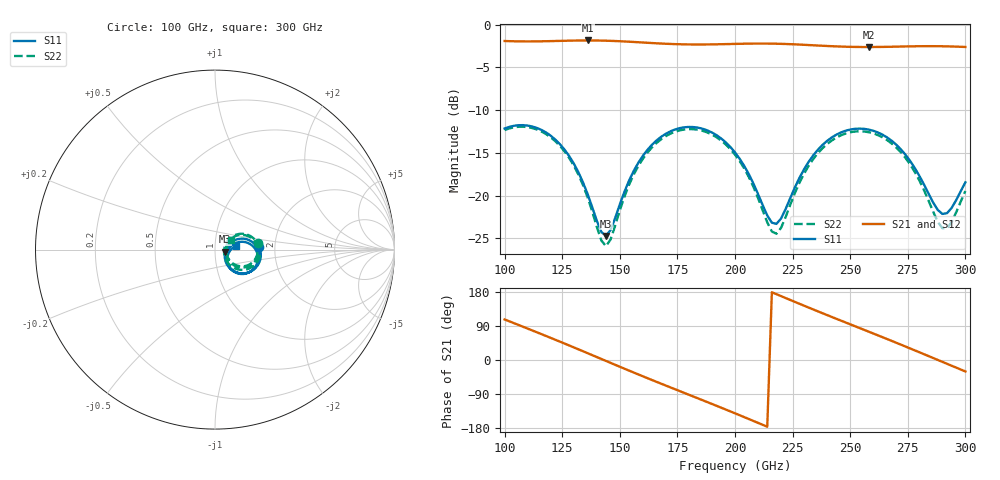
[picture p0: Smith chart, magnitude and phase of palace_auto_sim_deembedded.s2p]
! Created with skrf 1.11.0 (http://scikit-rf.org).
# GHz S DB R 50.0
!freq dBS11 angS11 dBS21 angS21 dBS12 angS12 dBS22 angS22
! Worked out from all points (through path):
!   101 points, 100 GHz to 300 GHz, reference 50 ohm
!   highest |S21| = -1.84 dB at 136 GHz (marker M1); lowest = -2.6 dB at 258 GHz (marker M2)
!   group delay of S21, straight-line fit = 6.9 ps
!   lowest |S11| = -24.7 dB at 144 GHz (marker M3), VSWR 1.12, Z = 56 - j1.27 ohm
!   |S11| at or under -10 dB: start of sweep to end of sweep
!   |S22| runs from -25.9 to -11.9 dB; largest |S21 - S12| = 1.4e-13
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100  -12.15 2.9  -1.90 107.1  -1.90 107.1  -12.33 8.8
108  -11.76 -12.4  -1.95 87.7  -1.95 87.7  -11.94 -6.2
116  -12.32 -27.6  -1.93 68.3  -1.93 68.3  -12.50 -21.3
126  -14.62 -44.7  -1.87 43.5  -1.87 43.5  -14.83 -38.4
134  -18.44 -51.8  -1.84 23.2  -1.84 23.2  -18.75 -46.2
136  -19.81 -50.8  -1.84 18.1  -1.84 18.1  -20.19 -45.5
144  -24.73 -11.2  -1.86 -2.5  -1.86 -2.5  -25.93 -3.4
156  -17.14 24.8  -2.01 -33.0  -2.01 -33.0  -17.56 36.5
168  -13.11 8.6  -2.20 -62.7  -2.20 -62.7  -13.40 20.1
184  -12.05 -20.2  -2.31 -101.4  -2.31 -101.4  -12.30 -8.7
200  -14.95 -46.1  -2.24 -140.7  -2.24 -140.7  -15.21 -34.9
210  -19.83 -48.5  -2.20 -165.9  -2.20 -165.9  -20.29 -38.4
218  -23.32 -12.0  -2.22 173.7  -2.22 173.7  -24.48 0.6
226  -19.04 17.0  -2.29 153.3  -2.29 153.3  -19.71 33.3
234  -15.28 14.1  -2.40 133.3  -2.40 133.3  -15.71 30.2
246  -12.61 -3.7  -2.55 103.9  -2.55 103.9  -12.94 12.0
258  -12.27 -24.4  -2.60 74.8  -2.60 74.8  -12.58 -9.0
268  -13.58 -40.5  -2.57 50.4  -2.57 50.4  -13.90 -25.7
280  -17.69 -50.6  -2.51 20.5  -2.51 20.5  -18.22 -37.8
290  -22.15 -23.9  -2.52 -4.9  -2.52 -4.9  -23.83 -9.7
294  -21.46 -4.1  -2.54 -15.0  -2.54 -15.0  -23.12 15.4
300  -18.45 9.6  -2.60 -30.2  -2.60 -30.2  -19.47 31.4
